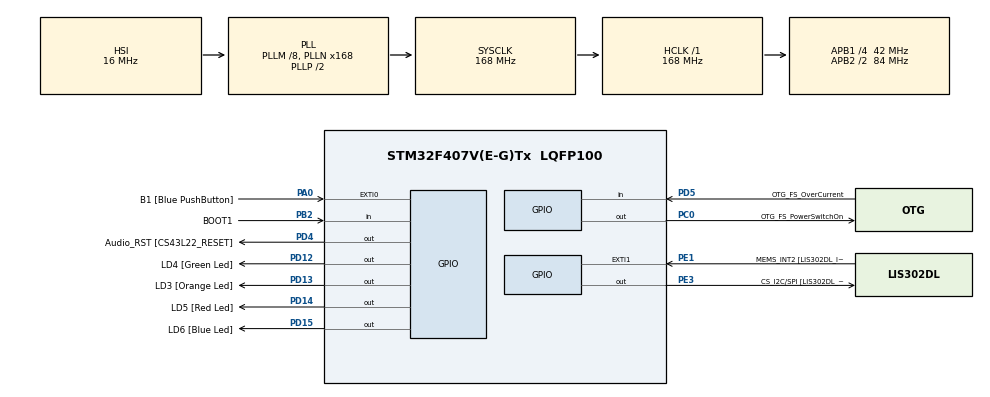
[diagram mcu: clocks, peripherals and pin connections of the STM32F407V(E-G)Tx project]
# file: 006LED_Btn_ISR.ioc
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Mcu.Family=STM32F4
Mcu.Name=STM32F407V(E-G)Tx
Mcu.Package=LQFP100
NVIC.EXTI0_IRQn=true\:6\:0\:true\:false\:true\:true\:false\:true
NVIC.PriorityGroup=NVIC_PRIORITYGROUP_4
NVIC.TIM6_DAC_IRQn=true\:0\:0\:false\:false\:true\:false\:true\:true
NVIC.TimeBase=TIM6_DAC_IRQn
NVIC.TimeBaseIP=TIM6
PA0-WKUP.GPIO_Label=B1 [Blue PushButton]
PA0-WKUP.GPIO_ModeDefaultEXTI=GPIO_MODE_IT_FALLING
PA0-WKUP.Signal=GPXTI0
PA10.GPIO_Label=OTG_FS_ID
PA10.GPIO_Mode=GPIO_MODE_AF_PP
PA10.GPIO_PuPd=GPIO_NOPULL
PA10.GPIO_Speed=GPIO_SPEED_FREQ_LOW
PA10.Signal=USB_OTG_FS_ID
PA11.GPIO_Label=OTG_FS_DM
PA11.GPIO_Mode=GPIO_MODE_AF_PP
PA11.GPIO_PuPd=GPIO_NOPULL
PA11.GPIO_Speed=GPIO_SPEED_FREQ_LOW
PA11.Signal=USB_OTG_FS_DM
PA12.GPIO_Label=OTG_FS_DP
PA12.GPIO_Mode=GPIO_MODE_AF_PP
PA12.GPIO_PuPd=GPIO_NOPULL
PA12.GPIO_Speed=GPIO_SPEED_FREQ_LOW
PA12.Signal=USB_OTG_FS_DP
PA13.GPIO_Label=SWDIO
PA13.Signal=SYS_JTMS-SWDIO
PA14.GPIO_Label=SWCLK
PA14.Signal=SYS_JTCK-SWCLK
PA4.GPIO_Label=I2S3_WS [CS43L22_LRCK]
PA4.GPIO_Mode=GPIO_MODE_AF_PP
PA4.GPIO_PuPd=GPIO_NOPULL
PA4.GPIO_Speed=GPIO_SPEED_FREQ_LOW
PA4.Signal=I2S3_WS
PA5.GPIO_Label=SPI1_SCK [LIS302DL_SCL/SPC]
PA5.GPIO_Mode=GPIO_MODE_AF_PP
PA5.GPIO_PuPd=GPIO_NOPULL
PA5.GPIO_Speed=GPIO_SPEED_FREQ_LOW
PA5.Signal=SPI1_SCK
PA6.GPIO_Label=SPI1_MISO [LIS302DL_SDO]
PA6.GPIO_Mode=GPIO_MODE_AF_PP
PA6.GPIO_PuPd=GPIO_NOPULL
PA6.GPIO_Speed=GPIO_SPEED_FREQ_LOW
PA6.Signal=SPI1_MISO
PA7.GPIO_Label=SPI1_MOSI [LIS302DL_SDA/SDI/SDO]
PA7.GPIO_Mode=GPIO_MODE_AF_PP
PA7.GPIO_PuPd=GPIO_NOPULL
PA7.GPIO_Speed=GPIO_SPEED_FREQ_LOW
PA7.Signal=SPI1_MOSI
PA9.GPIO_Label=VBUS_FS
PA9.GPIO_Mode=GPIO_MODE_INPUT
PA9.GPIO_PuPd=GPIO_NOPULL
PA9.Signal=USB_OTG_FS_VBUS
PB10.GPIO_Label=CLK_IN [MP45DT02_CLK]
PB10.GPIO_Mode=GPIO_MODE_AF_PP
PB10.GPIO_PuPd=GPIO_NOPULL
PB10.GPIO_Speed=GPIO_SPEED_FREQ_LOW
PB10.Signal=I2S2_CK
PB2.GPIO_Label=BOOT1
PB2.GPIO_Mode=GPIO_MODE_INPUT
PB2.GPIO_PuPd=GPIO_NOPULL
PB2.Signal=GPIO_Input
PB3.GPIO_Label=SWO
PB3.Signal=SYS_JTDO-SWO
PB6.GPIO_Label=Audio_SCL [CS43L22_SCL]
PB6.GPIO_Mode=GPIO_MODE_AF_OD
PB6.GPIO_PuPd=GPIO_NOPULL
PB6.GPIO_Speed=GPIO_SPEED_FREQ_LOW
PB6.Signal=I2C1_SCL
PB9.GPIO_Label=Audio_SDA [CS43L22_SDA]
PB9.GPIO_Mode=GPIO_MODE_AF_OD
PB9.GPIO_PuPd=GPIO_NOPULL
PB9.GPIO_Speed=GPIO_SPEED_FREQ_LOW
PB9.Signal=I2C1_SDA
PC0.GPIO_Label=OTG_FS_PowerSwitchOn
PC0.GPIO_PuPd=GPIO_NOPULL
PC0.GPIO_Speed=GPIO_SPEED_FREQ_LOW
PC0.PinState=GPIO_PIN_SET
PC0.Signal=GPIO_Output
PC10.GPIO_Label=I2S3_SCK [CS43L22_SCLK]
PC10.GPIO_Mode=GPIO_MODE_AF_PP
PC10.GPIO_PuPd=GPIO_NOPULL
PC10.GPIO_Speed=GPIO_SPEED_FREQ_LOW
PC10.Signal=I2S3_CK
PC12.GPIO_Label=I2S3_SD [CS43L22_SDIN]
PC12.GPIO_Mode=GPIO_MODE_AF_PP
PC12.GPIO_PuPd=GPIO_NOPULL
PC12.GPIO_Speed=GPIO_SPEED_FREQ_LOW
PC12.Signal=I2S3_SD
PC14-OSC32_IN.GPIO_Label=PC14-OSC32_IN
PC14-OSC32_IN.Signal=RCC_OSC32_IN
PC15-OSC32_OUT.GPIO_Label=PC15-OSC32_OUT
PC15-OSC32_OUT.Signal=RCC_OSC32_OUT
PC3.GPIO_Label=PDM_OUT [MP45DT02_DOUT]
PC3.GPIO_Mode=GPIO_MODE_AF_PP
PC3.GPIO_PuPd=GPIO_NOPULL
PC3.GPIO_Speed=GPIO_SPEED_FREQ_LOW
PC3.Signal=I2S2_SD
PC7.GPIO_Label=I2S3_MCK [CS43L22_MCLK]
PC7.GPIO_Mode=GPIO_MODE_AF_PP
PC7.GPIO_PuPd=GPIO_NOPULL
PC7.GPIO_Speed=GPIO_SPEED_FREQ_LOW
PC7.Signal=I2S3_MCK
PD12.GPIO_Label=LD4 [Green Led]
PD12.GPIO_PuPd=GPIO_NOPULL
PD12.GPIO_Speed=GPIO_SPEED_FREQ_LOW
PD12.Signal=GPIO_Output
PD13.GPIO_Label=LD3 [Orange Led]
PD13.GPIO_PuPd=GPIO_NOPULL
PD13.GPIO_Speed=GPIO_SPEED_FREQ_LOW
PD13.Signal=GPIO_Output
PD14.GPIO_Label=LD5 [Red Led]
PD14.GPIO_PuPd=GPIO_NOPULL
PD14.GPIO_Speed=GPIO_SPEED_FREQ_LOW
PD14.Signal=GPIO_Output
PD15.GPIO_Label=LD6 [Blue Led]
PD15.GPIO_PuPd=GPIO_NOPULL
PD15.GPIO_Speed=GPIO_SPEED_FREQ_LOW
PD15.Signal=GPIO_Output
PD4.GPIO_Label=Audio_RST [CS43L22_RESET]
PD4.GPIO_PuPd=GPIO_NOPULL
PD4.GPIO_Speed=GPIO_SPEED_FREQ_LOW
PD4.Signal=GPIO_Output
PD5.GPIO_Label=OTG_FS_OverCurrent
PD5.GPIO_Mode=GPIO_MODE_INPUT
PD5.GPIO_PuPd=GPIO_NOPULL
PD5.Signal=GPIO_Input
PE1.GPIO_Label=MEMS_INT2 [LIS302DL_INT2]
PE1.GPIO_ModeDefaultEXTI=GPIO_MODE_EVT_RISING
PE1.GPIO_PuPd=GPIO_NOPULL
PE1.Signal=GPXTI1
PE3.GPIO_Label=CS_I2C/SPI [LIS302DL_CS_I2C/SPI]
PE3.GPIO_PuPd=GPIO_NOPULL
PE3.GPIO_Speed=GPIO_SPEED_FREQ_LOW
PE3.Signal=GPIO_Output
PH0-OSC_IN.GPIO_Label=PH0-OSC_IN
PH0-OSC_IN.Signal=RCC_OSC_IN
PH1-OSC_OUT.GPIO_Label=PH1-OSC_OUT
PH1-OSC_OUT.Signal=RCC_OSC_OUT
ProjectManager.HeapSize=0x200
ProjectManager.StackSize=0x400
ProjectManager.TargetToolchain=STM32CubeIDE
RCC.48MHZClocksFreq_Value=48000000
RCC.AHBFreq_Value=168000000
RCC.APB1CLKDivider=RCC_HCLK_DIV4
RCC.APB1Freq_Value=42000000
RCC.APB1TimFreq_Value=84000000
RCC.APB2CLKDivider=RCC_HCLK_DIV2
RCC.APB2Freq_Value=84000000
RCC.APB2TimFreq_Value=168000000
RCC.CortexFreq_Value=168000000
RCC.HCLKFreq_Value=168000000
RCC.HSE_VALUE=8000000
RCC.HSI_VALUE=16000000
RCC.LSE_VALUE=32768
RCC.PLLM=8
RCC.PLLN=168
RCC.PLLQ=7
RCC.SYSCLKFreq_VALUE=168000000
RCC.SYSCLKSource=RCC_SYSCLKSOURCE_PLLCLK
RCC.VCOOutputFreq_Value=336000000
VP_SYS_VS_tim6.Mode=TIM6
board=STM32F407G-DISC1

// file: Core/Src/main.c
/* USER CODE BEGIN Header */
/**
  ******************************************************************************
  * @file           : main.c
  * @brief          : Main program body
  ******************************************************************************
  * @attention
  *
  * <h2><center>&copy; Copyright (c) 2021 STMicroelectronics.
  * All rights reserved.</center></h2>
  *
  * This software component is licensed by ST under BSD 3-Clause license,
  * the "License"; You may not use this file except in compliance with the
  * License. You may obtain a copy of the License at:
  *                        opensource.org/licenses/BSD-3-Clause
  *
  ******************************************************************************
  */
/* USER CODE END Header */
#include "main.h"

/* USER CODE BEGIN Includes */

#include "FreeRTOS.h"
#include "task.h"

/* USER CODE END Includes */

/* USER CODE BEGIN PV */

#define DWT_CTRL    (*(volatile uint32_t*)0xE0001000)

/* USER CODE END PV */

void SystemClock_Config(void);
static void MX_GPIO_Init(void);
/* USER CODE BEGIN PFP */

static void led_green_handler(void* parameters);
static void led_orange_handler(void* parameters);
static void led_red_handler(void* parameters);

extern void SEGGER_UART_init(uint32_t);

TaskHandle_t ledg_task_handle;
TaskHandle_t ledo_task_handle;
TaskHandle_t ledr_task_handle;
TaskHandle_t btn_task_handle;

TaskHandle_t volatile next_task_handle = NULL;

/* USER CODE END PFP */

int main(void)
{
  /* USER CODE BEGIN 1 */

	BaseType_t status;

  /* USER CODE END 1 */

  /* MCU Configuration--------------------------------------------------------*/

  /* Reset of all peripherals, Initializes the Flash interface and the Systick. */
  HAL_Init();

  /* Configure the system clock */
  SystemClock_Config();

  /* Initialize all configured peripherals */
  MX_GPIO_Init();
  /* USER CODE BEGIN 2 */

//  SEGGER_UART_init(500000);

  //CYCLCNT enable
  DWT_CTRL |= ( 1 << 0);

//  SEGGER_SYSVIEW_Conf();

  status = xTaskCreate(led_green_handler, "LED_green_task", 200, NULL, 3, &ledg_task_handle);

  configASSERT(status == pdPASS);

  next_task_handle = ledg_task_handle;

  status = xTaskCreate(led_orange_handler, "LED_orange_task", 200, NULL, 2, &ledo_task_handle);

   configASSERT(status == pdPASS);

  status = xTaskCreate(led_red_handler, "LED_red_task", 200,NULL, 1, &ledr_task_handle);

  configASSERT(status == pdPASS);

  //start the freeRTOS scheduler
  vTaskStartScheduler();

  /* USER CODE END 2 */

  /* Infinite loop */
  while (1)
  {

  }
}

void SystemClock_Config(void)
{
  RCC_OscInitTypeDef RCC_OscInitStruct = {0};
  RCC_ClkInitTypeDef RCC_ClkInitStruct = {0};

  /** Configure the main internal regulator output voltage
  */
  __HAL_RCC_PWR_CLK_ENABLE();
  __HAL_PWR_VOLTAGESCALING_CONFIG(PWR_REGULATOR_VOLTAGE_SCALE1);

  /** Initializes the RCC Oscillators according to the specified parameters
  * in the RCC_OscInitTypeDef structure.
  */
  RCC_OscInitStruct.OscillatorType = RCC_OSCILLATORTYPE_HSI;
  RCC_OscInitStruct.HSIState = RCC_HSI_ON;
  RCC_OscInitStruct.HSICalibrationValue = RCC_HSICALIBRATION_DEFAULT;
  RCC_OscInitStruct.PLL.PLLState = RCC_PLL_ON;
  RCC_OscInitStruct.PLL.PLLSource = RCC_PLLSOURCE_HSI;
  RCC_OscInitStruct.PLL.PLLM = 8;
  RCC_OscInitStruct.PLL.PLLN = 168;
  RCC_OscInitStruct.PLL.PLLP = RCC_PLLP_DIV2;
  RCC_OscInitStruct.PLL.PLLQ = 7;
  if (HAL_RCC_OscConfig(&RCC_OscInitStruct) != HAL_OK)
  {
    Error_Handler();
  }

  /** Initializes the CPU, AHB and APB buses clocks
  */
  RCC_ClkInitStruct.ClockType = RCC_CLOCKTYPE_HCLK|RCC_CLOCKTYPE_SYSCLK
                              |RCC_CLOCKTYPE_PCLK1|RCC_CLOCKTYPE_PCLK2;
  RCC_ClkInitStruct.SYSCLKSource = RCC_SYSCLKSOURCE_PLLCLK;
  RCC_ClkInitStruct.AHBCLKDivider = RCC_SYSCLK_DIV1;
  RCC_ClkInitStruct.APB1CLKDivider = RCC_HCLK_DIV4;
  RCC_ClkInitStruct.APB2CLKDivider = RCC_HCLK_DIV2;

  if (HAL_RCC_ClockConfig(&RCC_ClkInitStruct, FLASH_LATENCY_5) != HAL_OK)
  {
    Error_Handler();
  }
}

static void MX_GPIO_Init(void)
{
  GPIO_InitTypeDef GPIO_InitStruct = {0};

  /* GPIO Ports Clock Enable */
  __HAL_RCC_GPIOE_CLK_ENABLE();
  __HAL_RCC_GPIOC_CLK_ENABLE();
  __HAL_RCC_GPIOH_CLK_ENABLE();
  __HAL_RCC_GPIOA_CLK_ENABLE();
  __HAL_RCC_GPIOB_CLK_ENABLE();
  __HAL_RCC_GPIOD_CLK_ENABLE();

  /*Configure GPIO pin Output Level */
  HAL_GPIO_WritePin(CS_I2C_SPI_GPIO_Port, CS_I2C_SPI_Pin, GPIO_PIN_RESET);

  /*Configure GPIO pin Output Level */
  HAL_GPIO_WritePin(OTG_FS_PowerSwitchOn_GPIO_Port, OTG_FS_PowerSwitchOn_Pin, GPIO_PIN_SET);

  /*Configure GPIO pin Output Level */
  HAL_GPIO_WritePin(GPIOD, LD4_Pin|LD3_Pin|LD5_Pin|LD6_Pin
                          |Audio_RST_Pin, GPIO_PIN_RESET);

  /*Configure GPIO pin : CS_I2C_SPI_Pin */
  GPIO_InitStruct.Pin = CS_I2C_SPI_Pin;
  GPIO_InitStruct.Mode = GPIO_MODE_OUTPUT_PP;
  GPIO_InitStruct.Pull = GPIO_NOPULL;
  GPIO_InitStruct.Speed = GPIO_SPEED_FREQ_LOW;
  HAL_GPIO_Init(CS_I2C_SPI_GPIO_Port, &GPIO_InitStruct);

  /*Configure GPIO pin : OTG_FS_PowerSwitchOn_Pin */
  GPIO_InitStruct.Pin = OTG_FS_PowerSwitchOn_Pin;
  GPIO_InitStruct.Mode = GPIO_MODE_OUTPUT_PP;
  GPIO_InitStruct.Pull = GPIO_NOPULL;
  GPIO_InitStruct.Speed = GPIO_SPEED_FREQ_LOW;
  HAL_GPIO_Init(OTG_FS_PowerSwitchOn_GPIO_Port, &GPIO_InitStruct);

  /*Configure GPIO pin : PDM_OUT_Pin */
  GPIO_InitStruct.Pin = PDM_OUT_Pin;
  GPIO_InitStruct.Mode = GPIO_MODE_AF_PP;
  GPIO_InitStruct.Pull = GPIO_NOPULL;
  GPIO_InitStruct.Speed = GPIO_SPEED_FREQ_LOW;
  GPIO_InitStruct.Alternate = GPIO_AF5_SPI2;
  HAL_GPIO_Init(PDM_OUT_GPIO_Port, &GPIO_InitStruct);

  /*Configure GPIO pin : B1_Pin */
  GPIO_InitStruct.Pin = B1_Pin;
  GPIO_InitStruct.Mode = GPIO_MODE_IT_FALLING;
  GPIO_InitStruct.Pull = GPIO_NOPULL;
  HAL_GPIO_Init(B1_GPIO_Port, &GPIO_InitStruct);

  /*Configure GPIO pin : I2S3_WS_Pin */
  GPIO_InitStruct.Pin = I2S3_WS_Pin;
  GPIO_InitStruct.Mode = GPIO_MODE_AF_PP;
  GPIO_InitStruct.Pull = GPIO_NOPULL;
  GPIO_InitStruct.Speed = GPIO_SPEED_FREQ_LOW;
  GPIO_InitStruct.Alternate = GPIO_AF6_SPI3;
  HAL_GPIO_Init(I2S3_WS_GPIO_Port, &GPIO_InitStruct);

  /*Configure GPIO pins : SPI1_SCK_Pin SPI1_MISO_Pin SPI1_MOSI_Pin */
  GPIO_InitStruct.Pin = SPI1_SCK_Pin|SPI1_MISO_Pin|SPI1_MOSI_Pin;
  GPIO_InitStruct.Mode = GPIO_MODE_AF_PP;
  GPIO_InitStruct.Pull = GPIO_NOPULL;
  GPIO_InitStruct.Speed = GPIO_SPEED_FREQ_LOW;
  GPIO_InitStruct.Alternate = GPIO_AF5_SPI1;
  HAL_GPIO_Init(GPIOA, &GPIO_InitStruct);

  /*Configure GPIO pin : BOOT1_Pin */
  GPIO_InitStruct.Pin = BOOT1_Pin;
  GPIO_InitStruct.Mode = GPIO_MODE_INPUT;
  GPIO_InitStruct.Pull = GPIO_NOPULL;
  HAL_GPIO_Init(BOOT1_GPIO_Port, &GPIO_InitStruct);

  /*Configure GPIO pin : CLK_IN_Pin */
  GPIO_InitStruct.Pin = CLK_IN_Pin;
  GPIO_InitStruct.Mode = GPIO_MODE_AF_PP;
  GPIO_InitStruct.Pull = GPIO_NOPULL;
  GPIO_InitStruct.Speed = GPIO_SPEED_FREQ_LOW;
  GPIO_InitStruct.Alternate = GPIO_AF5_SPI2;
  HAL_GPIO_Init(CLK_IN_GPIO_Port, &GPIO_InitStruct);

  /*Configure GPIO pins : LD4_Pin LD3_Pin LD5_Pin LD6_Pin
                           Audio_RST_Pin */
  GPIO_InitStruct.Pin = LD4_Pin|LD3_Pin|LD5_Pin|LD6_Pin
                          |Audio_RST_Pin;
  GPIO_InitStruct.Mode = GPIO_MODE_OUTPUT_PP;
  GPIO_InitStruct.Pull = GPIO_NOPULL;
  GPIO_InitStruct.Speed = GPIO_SPEED_FREQ_LOW;
  HAL_GPIO_Init(GPIOD, &GPIO_InitStruct);

  /*Configure GPIO pins : I2S3_MCK_Pin I2S3_SCK_Pin I2S3_SD_Pin */
  GPIO_InitStruct.Pin = I2S3_MCK_Pin|I2S3_SCK_Pin|I2S3_SD_Pin;
  GPIO_InitStruct.Mode = GPIO_MODE_AF_PP;
  GPIO_InitStruct.Pull = GPIO_NOPULL;
  GPIO_InitStruct.Speed = GPIO_SPEED_FREQ_LOW;
  GPIO_InitStruct.Alternate = GPIO_AF6_SPI3;
  HAL_GPIO_Init(GPIOC, &GPIO_InitStruct);

  /*Configure GPIO pin : VBUS_FS_Pin */
  GPIO_InitStruct.Pin = VBUS_FS_Pin;
  GPIO_InitStruct.Mode = GPIO_MODE_INPUT;
  GPIO_InitStruct.Pull = GPIO_NOPULL;
  HAL_GPIO_Init(VBUS_FS_GPIO_Port, &GPIO_InitStruct);

  /*Configure GPIO pins : OTG_FS_ID_Pin OTG_FS_DM_Pin OTG_FS_DP_Pin */
  GPIO_InitStruct.Pin = OTG_FS_ID_Pin|OTG_FS_DM_Pin|OTG_FS_DP_Pin;
  GPIO_InitStruct.Mode = GPIO_MODE_AF_PP;
  GPIO_InitStruct.Pull = GPIO_NOPULL;
  GPIO_InitStruct.Speed = GPIO_SPEED_FREQ_LOW;
  GPIO_InitStruct.Alternate = GPIO_AF10_OTG_FS;
  HAL_GPIO_Init(GPIOA, &GPIO_InitStruct);

  /*Configure GPIO pin : OTG_FS_OverCurrent_Pin */
  GPIO_InitStruct.Pin = OTG_FS_OverCurrent_Pin;
  GPIO_InitStruct.Mode = GPIO_MODE_INPUT;
  GPIO_InitStruct.Pull = GPIO_NOPULL;
  HAL_GPIO_Init(OTG_FS_OverCurrent_GPIO_Port, &GPIO_InitStruct);

  /*Configure GPIO pins : Audio_SCL_Pin Audio_SDA_Pin */
  GPIO_InitStruct.Pin = Audio_SCL_Pin|Audio_SDA_Pin;
  GPIO_InitStruct.Mode = GPIO_MODE_AF_OD;
  GPIO_InitStruct.Pull = GPIO_NOPULL;
  GPIO_InitStruct.Speed = GPIO_SPEED_FREQ_LOW;
  GPIO_InitStruct.Alternate = GPIO_AF4_I2C1;
  HAL_GPIO_Init(GPIOB, &GPIO_InitStruct);

  /*Configure GPIO pin : MEMS_INT2_Pin */
  GPIO_InitStruct.Pin = MEMS_INT2_Pin;
  GPIO_InitStruct.Mode = GPIO_MODE_EVT_RISING;
  GPIO_InitStruct.Pull = GPIO_NOPULL;
  HAL_GPIO_Init(MEMS_INT2_GPIO_Port, &GPIO_InitStruct);

  /* EXTI interrupt init*/
  HAL_NVIC_SetPriority(EXTI0_IRQn, 6, 0);
  HAL_NVIC_EnableIRQ(EXTI0_IRQn);

}

/* USER CODE BEGIN 4 */

void button_interrupt_handler(void)
{
	BaseType_t pxHigherPriorityTaskWoken;

	pxHigherPriorityTaskWoken = pdFALSE;

	traceISR_ENTER();
	xTaskNotifyFromISR(next_task_handle,0,eNoAction,&pxHigherPriorityTaskWoken);

	/* once the ISR exits, the below macro makes higher priority task which got unblocked to resume on the CPU */
	/**
	 * manually made the scheduler to run. So that the scheduler can pick the higher priority task which
	 * is there in the ready state and it's schedule it to run on the CPU.
	 *
	 */
	portYIELD_FROM_ISR(pxHigherPriorityTaskWoken);

	traceISR_EXIT();

}

static void led_green_handler(void* parameters)
{
	BaseType_t  status;
	while(1)
	{
//		SEGGER_SYSVIEW_PrintfTarget("Toggling green LED");
		HAL_GPIO_TogglePin(GPIOD, LED_GREEN_PIN);
		status = xTaskNotifyWait(0,0,NULL,pdMS_TO_TICKS(1000));
		if(status == pdTRUE){
			portENTER_CRITICAL();
			next_task_handle = ledo_task_handle;
			HAL_GPIO_WritePin(GPIOD, LED_GREEN_PIN,GPIO_PIN_SET);
//			SEGGER_SYSVIEW_PrintfTarget("Delete green LED task");
			portEXIT_CRITICAL();
			vTaskDelete(NULL);
		}

	}
}

static void led_orange_handler(void* parameters)
{
	BaseType_t  status;

	while(1)
	{
//		SEGGER_SYSVIEW_PrintfTarget("Toggling orange LED");
		HAL_GPIO_TogglePin(GPIOD, LED_ORANGE_PIN );
		status = xTaskNotifyWait(0,0,NULL,pdMS_TO_TICKS(800));
		if(status == pdTRUE){
			portENTER_CRITICAL();
			next_task_handle = ledr_task_handle;
			HAL_GPIO_WritePin(GPIOD, LED_ORANGE_PIN,GPIO_PIN_SET);
//			SEGGER_SYSVIEW_PrintfTarget("Delete orange LED task");
			portEXIT_CRITICAL();
			vTaskDelete(NULL);
		}

	}
}

static void led_red_handler(void* parameters)
{
	BaseType_t  status;

	while(1)
	{
//		SEGGER_SYSVIEW_PrintfTarget("Toggling red LED");
		HAL_GPIO_TogglePin(GPIOD, LED_RED_PIN);
		status = xTaskNotifyWait(0,0,NULL,pdMS_TO_TICKS(400));
		if(status == pdTRUE){
			portENTER_CRITICAL();
			next_task_handle = NULL;
			HAL_GPIO_WritePin(GPIOD, LED_RED_PIN,GPIO_PIN_SET);
//			SEGGER_SYSVIEW_PrintfTarget("Delete red LED task");
			portEXIT_CRITICAL();
			vTaskDelete(NULL);
		}

	}

}

/* USER CODE END 4 */

void HAL_TIM_PeriodElapsedCallback(TIM_HandleTypeDef *htim)
{
  if (htim->Instance == TIM6) {
    HAL_IncTick();
  }
}

void Error_Handler(void)
{
}
